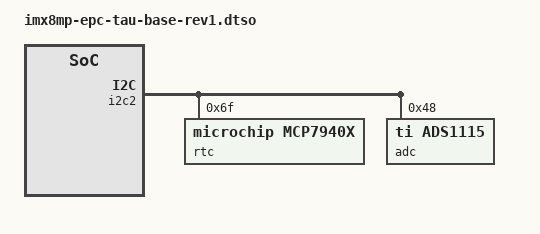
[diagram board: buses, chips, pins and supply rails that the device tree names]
/dts-v1/;
/plugin/;

// SPDX-License-Identifier: (GPL-2.0+ OR MIT)
/*
 * Device tree overlay for EPC Power MOAB (part: 44-100131) rev1
 *
 * Copyright 2026 EPC Power
 *
 * Changes:
 *  - Added 3 bit MOAB HWID GPIOs. MOAB HWID for gen1/rev1 is 0 and
 *    and for gen2/rev1 its 1.
 *  - Replaced RTC with higher temp rated part, MCP7940NT-E/MS. 7 bit address
 *    is 0x6F on I2C2 line.
 *  - Added another ADC for 2x 4-20mA temperature sensors with 7 bit address
 *    is 0x48 on I2C2 line, same line as temp/humid sensor and RTC.
 *    Measurement names are XFMR-TEMP1 and XFMR-TEMP2.
 *  - Added ADC_24V_AUX measurement to ADC with 7 bit address of 0x4A on I2C3
 *    line.
 *  - Removed T_AMB_HUMID measurement from ADC with 7 bit address of 0x4B on
 *    I2C3 line.
 */

&{/soc@0/bus@30800000/i2c@30a30000/rtc@51} {
    status = "disabled";
};

&i2c2 {
    #address-cells = <1>;
    #size-cells = <0>;

    rtc: rtc@6f {
        compatible = "microchip,mcp7940x";
        reg = <0x6f>;
    };

    // ADC added to support new temperature sensors (XFMR-TEMP1 and XFMR-TEMP2)
    adc@48 {
        compatible= "ti,ads1115";
        reg = <0x48>;
        #address-cells = <1>;
        #size-cells = <0>;

        channel@4 {
            reg = <4>;
            ti,gain = <1>;
            ti,datarate = <4>;
        };

        channel@5 {
            reg = <5>;
            ti,gain = <1>;
            ti,datarate = <4>;
        };

        channel@6 {
            reg = <6>;
            ti,gain = <1>;
            ti,datarate = <4>;
        };

        channel@7 {
            reg = <7>;
            ti,gain = <1>;
            ti,datarate = <4>;
        };
    };
};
